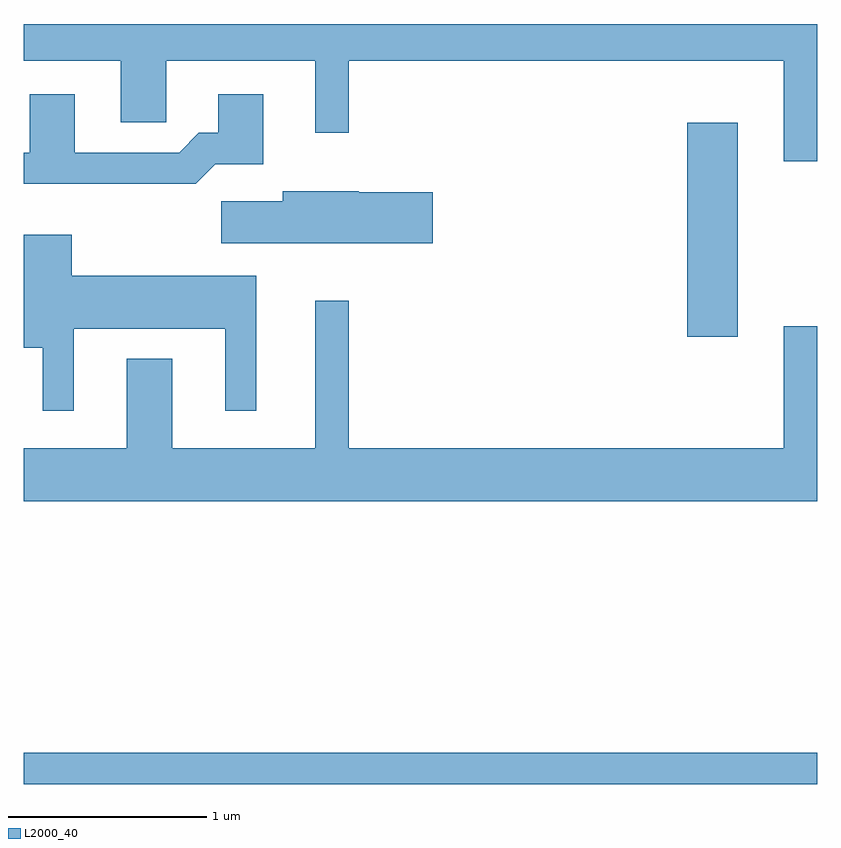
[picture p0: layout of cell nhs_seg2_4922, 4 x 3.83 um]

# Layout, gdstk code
import gdstk
lib = gdstk.Library(unit=1e-6, precision=1e-09)
def R(c, l, rs):  # rectangles x0, y0, x1, y1
    for r in rs: c.add(gdstk.rectangle(r[:2], r[2:], *l))
def P(c, l, *ps):  # polygons
    for p in ps: c.add(gdstk.Polygon(p, *l))
L2000_40 = (2000, 40)

nhs_seg2_4922 = lib.new_cell('nhs_seg2_4922')
R(nhs_seg2_4922, L2000_40, [(329.611,1077.971,333.611,1078.129), (332.956,1080.226,333.209,1081.304)])
P(nhs_seg2_4922, L2000_40, [(329.611,1081.616),(330.101,1081.616),(330.101,1081.306),(330.329,1081.306),(330.329,1081.616),(331.081,1081.616),(331.081,1081.253),(331.249,1081.253),(331.249,1081.616),(333.441,1081.616),(333.441,1081.111),(333.611,1081.111),(333.611,1081.802),(329.611,1081.802)],
  [(330.577,1081.096),(330.819,1081.096),(330.819,1081.449),(330.591,1081.449),(330.591,1081.254),(330.494,1081.254),(330.394,1081.154),(329.869,1081.154),(329.869,1081.449),(329.641,1081.449),(329.641,1081.154),(329.611,1081.154),(329.611,1080.996),(330.477,1080.996)],
  [(331.674,1080.954),(331.3,1080.954),(331.3,1080.959),(330.916,1080.959),(330.916,1080.909),(330.606,1080.909),(330.606,1080.696),(331.674,1080.696)],
  [(329.864,1080.266),(330.626,1080.266),(330.626,1079.853),(330.784,1079.853),(330.784,1080.534),(329.854,1080.534),(329.854,1080.739),(329.611,1080.739),(329.611,1080.171),(329.706,1080.171),(329.706,1079.853),(329.864,1079.853)],
  [(333.611,1080.279),(333.441,1080.279),(333.441,1079.664),(331.249,1079.664),(331.249,1080.408),(331.081,1080.408),(331.081,1079.664),(330.359,1079.664),(330.359,1080.114),(330.131,1080.114),(330.131,1079.664),(329.611,1079.664),(329.611,1079.396),(333.611,1079.396)])

lib.write_gds('nhs_seg2_4922.gds')
